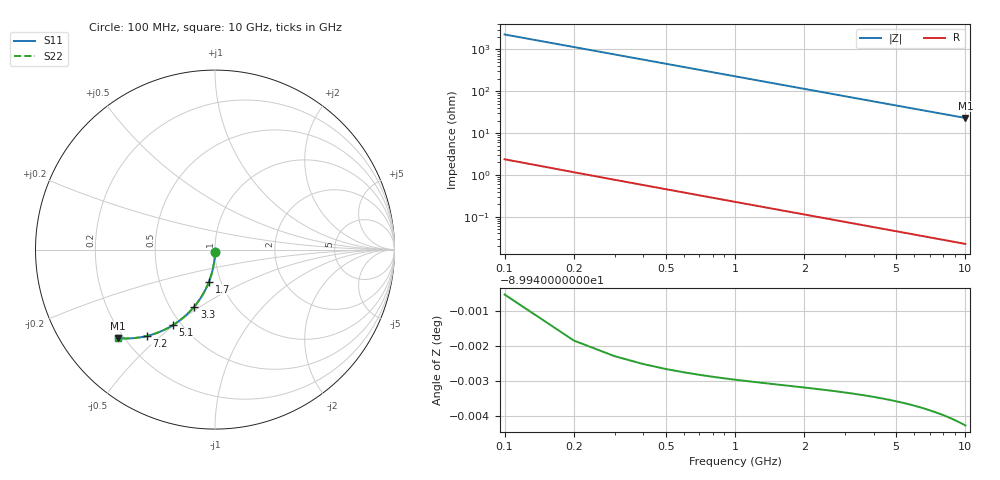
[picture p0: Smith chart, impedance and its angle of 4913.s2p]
# Hz S RI R 50.00
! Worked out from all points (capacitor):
!   100 points, 100 MHz to 10 GHz, reference 50 ohm
!   read as one part in shunt: C = 696 fF near 100 MHz
!   lowest |Z| = 23.1 ohm at 10 GHz (marker M1)
!   S11 on the Smith chart (normalised r, x): 100 MHz: 1.00, -0.02; 1.7 GHz: 0.88, -0.32; 3.3 GHz: 0.66, -0.47; 5.1 GHz: 0.45, -0.49; 7.2 GHz: 0.29, -0.45; 10 GHz: 0.18, -0.38
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1e8  -0.00011 -0.0109  0.9998 -0.011  0.9998 -0.011  -0.00011 -0.0109
2e8  -0.000479 -0.0218  0.9995 -0.022  0.9995 -0.022  -0.000479 -0.0218
3e8  -0.00109 -0.0326  0.9989 -0.0329  0.9989 -0.0329  -0.00109 -0.0326
4e8  -0.00193 -0.0435  0.998 -0.0438  0.998 -0.0438  -0.00193 -0.0435
5e8  -0.00301 -0.0543  0.9969 -0.0547  0.9969 -0.0547  -0.00301 -0.0543
6e8  -0.00433 -0.065  0.9956 -0.0656  0.9956 -0.0656  -0.00433 -0.065
8e8  -0.00765 -0.0864  0.9923 -0.0872  0.9923 -0.0872  -0.00765 -0.0864
9e8  -0.00966 -0.097  0.9903 -0.0979  0.9903 -0.0979  -0.00966 -0.097
1.1e9  -0.0143 -0.118  0.9856 -0.119  0.9856 -0.119  -0.0143 -0.118
1.4e9  -0.023 -0.1488  0.977 -0.1502  0.977 -0.1502  -0.023 -0.1488
1.7e9  -0.0335 -0.1787  0.9664 -0.1804  0.9664 -0.1804  -0.0335 -0.1787
1.8e9  -0.0374 -0.1884  0.9625 -0.1902  0.9625 -0.1902  -0.0374 -0.1884
2.1e9  -0.0502 -0.2169  0.9498 -0.2189  0.9498 -0.2189  -0.0502 -0.2169
2.5e9  -0.0696 -0.2528  0.9303 -0.2553  0.9303 -0.2553  -0.0696 -0.2528
3.3e9  -0.1152 -0.3172  0.8848 -0.3204  0.8848 -0.3204  -0.1152 -0.3172
3.4e9  -0.1214 -0.3245  0.8785 -0.3278  0.8785 -0.3278  -0.1214 -0.3245
4.2e9  -0.174 -0.3765  0.826 -0.3807  0.826 -0.3807  -0.174 -0.3765
5.1e9  -0.2367 -0.4221  0.7632 -0.4271  0.7632 -0.4271  -0.2367 -0.4221
6.7e9  -0.3482 -0.4726  0.6517 -0.4792  0.6517 -0.4792  -0.3482 -0.4726
7.2e9  -0.3814 -0.4817  0.6185 -0.4888  0.6185 -0.4888  -0.3814 -0.4817
8.4e9  -0.456 -0.4934  0.5439 -0.5017  0.5439 -0.5017  -0.456 -0.4934
1e10  -0.5426 -0.4927  0.4573 -0.5027  0.4573 -0.5027  -0.5426 -0.4927
